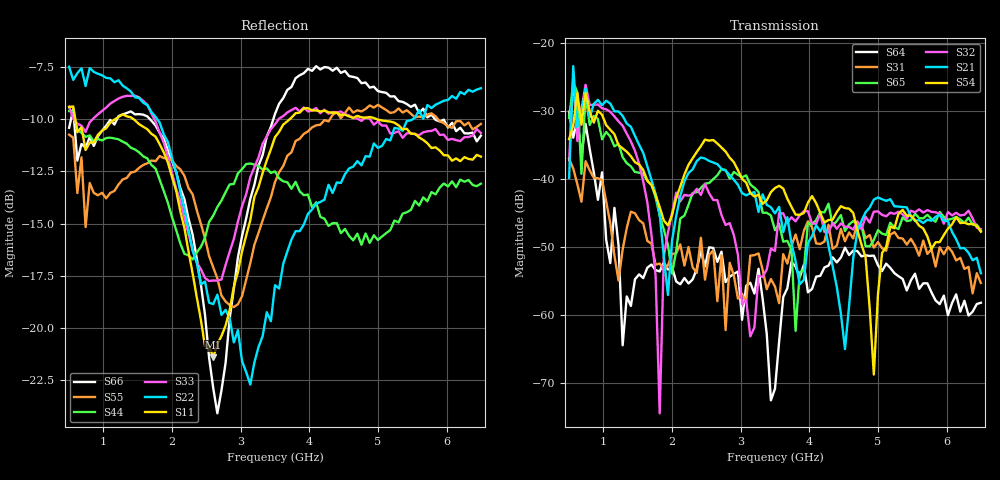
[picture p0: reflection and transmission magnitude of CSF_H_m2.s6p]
!Keysight Technologies,M9804A,MY58100912,A.14.10.03
!Date: Thursday, April 27, 2023 10:28:33
!Correction: S11(C  6-Port  )
!S12(C  6-Port  )
!S13(C  6-Port  )
!S14(C  6-Port  )
!S15(C  6-Port  )
!S16(C  6-Port  )
!S21(C  6-Port  )
!S22(C  6-Port  )
!S23(C  6-Port  )
!S24(C  6-Port  )
!S25(C  6-Port  )
!S26(C  6-Port  )
!S31(C  6-Port  )
!S32(C  6-Port  )
!S33(C  6-Port  )
!S34(C  6-Port  )
!S35(C  6-Port  )
!S36(C  6-Port  )
!S41(C  6-Port  )
!S42(C  6-Port  )
!S43(C  6-Port  )
!S44(C  6-Port  )
!S45(C  6-Port  )
!S46(C  6-Port  )
!S51(C  6-Port  )
!S52(C  6-Port  )
!S53(C  6-Port  )
!S54(C  6-Port  )
!S55(C  6-Port  )
!S56(C  6-Port  )
!S61(C  6-Port  )
!S62(C  6-Port  )
!S63(C  6-Port  )
!S64(C  6-Port  )
!S65(C  6-Port  )
!S66(C  6-Port  )
!S6P File: Measurement: :
# Hz S  RI  R 50
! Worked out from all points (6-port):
!   101 points, 500 MHz to 6.5 GHz, reference 50 ohm
!   strongest paths, dB at 500 MHz, 2 GHz, 3.5 GHz, 5 GHz, 6.5 GHz:
!     S54: -34.1, -45.3, -41.3, -57.0, -47.7
!     S21: -39.9, -49.0, -45.0, -42.7, -53.8
!     S32: -37.3, -45.0, -50.5, -44.7, -47.4
!     S65: -31.1, -53.9, -47.5, -47.5, -47.6
!     S31: -37.0, -51.0, -55.8, -49.3, -55.3
!     S64: -30.1, -52.9, -70.8, -52.7, -58.2
!   lowest |S11| = -21.4 dB at 2.6 GHz (marker M1), VSWR 1.19, Z = 42.4 + j2.2 ohm
!   |S11| at or under -10 dB: 589.6 MHz to 1.171 GHz (580.9 MHz wide, 66 % of centre); 1.437 GHz to 3.715 GHz (2.278 GHz wide, 88.4 % of centre); 4.982 GHz to end of sweep
